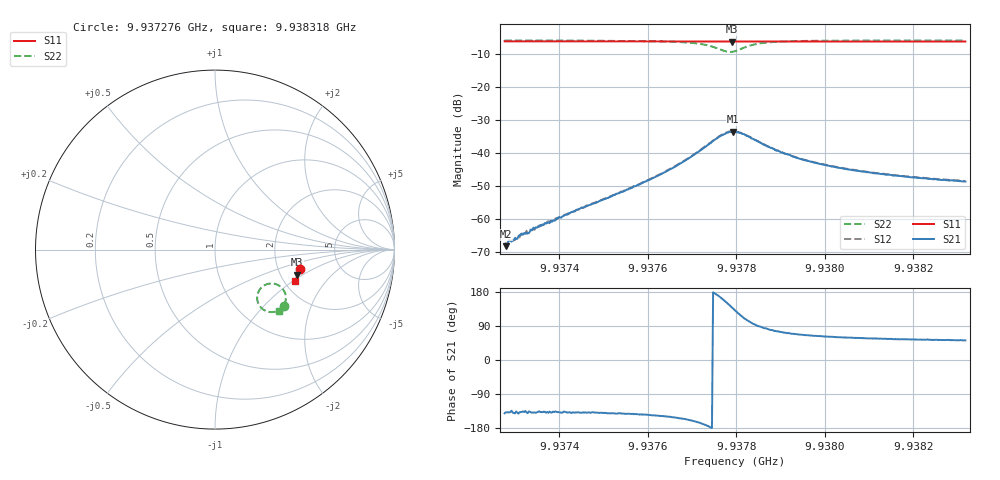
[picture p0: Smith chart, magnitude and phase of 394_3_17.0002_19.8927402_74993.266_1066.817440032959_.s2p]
#  HZ  S  RI  R  50.00
! Rohde & Schwarz Vector Network Analyzer
! Rohde-Schwarz,ZNB20-2Port,1311601062101988,3.16
! Created: UTC 3/20/2024, 11:09:47 PM
! freq[Hz]  re:S11  im:S11  re:S21  im:S21  re:S12  im:S12  re:S22  im:S22
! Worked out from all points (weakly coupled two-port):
!   401 points, 9.937276 GHz to 9.938318 GHz, reference 50 ohm
!   highest |S21| = -33.63 dB at 9.937792 GHz (marker M1); lowest = -68.2 dB at 9.937279 GHz (marker M2)
!   lowest |S11| = -6.4 dB at 9.937789 GHz (marker M3), VSWR 2.84, Z = 123 - j44.5 ohm
!   |S11| at or under -10 dB: nowhere
!   |S22| runs from -9.5 to -6.1 dB; largest |S21 - S12| = 0.00086
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9.9372759e9  0.4717 -0.1067  -0.000319 -0.000262  -0.000304 -0.000274  0.3857 -0.3151
9.9372785e9  0.4717 -0.1069  -0.000289 -0.000261  -0.000316 -0.000291  0.3853 -0.3153
9.9372994e9  0.4712 -0.1083  -0.0004 -0.000328  -0.000358 -0.000324  0.3839 -0.3168
9.937315e9  0.4709 -0.1094  -0.000443 -0.000414  -0.000436 -0.000381  0.3828 -0.3178
9.937328e9  0.4706 -0.1103  -0.000473 -0.000392  -0.000449 -0.000401  0.3818 -0.3188
9.9373515e9  0.4702 -0.1119  -0.000554 -0.000524  -0.000578 -0.000523  0.3798 -0.3206
9.9374505e9  0.468 -0.1185  -0.00113 -0.000973  -0.00112 -0.000981  0.3706 -0.3281
9.93756e9  0.4656 -0.1258  -0.00228 -0.00178  -0.00235 -0.00176  0.3545 -0.3385
9.9376251e9  0.4639 -0.1302  -0.00388 -0.00247  -0.00396 -0.00247  0.3381 -0.3449
9.9376851e9  0.4623 -0.1343  -0.00702 -0.00311  -0.00721 -0.00303  0.3095 -0.3483
9.9377294e9  0.4605 -0.1374  -0.012 -0.00185  -0.0124 -0.00173  0.2689 -0.3338
9.9377659e9  0.4588 -0.1389  -0.0176 0.0051  -0.0178 0.00547  0.2349 -0.2724
9.9377893e9  0.4582 -0.1393  -0.0157 0.0133  -0.0156 0.0142  0.261 -0.2095
9.9377919e9  0.4584 -0.1394  -0.0152 0.0143  -0.0148 0.0149  0.2673 -0.2041
9.9377971e9  0.4583 -0.1395  -0.0136 0.0157  -0.0133 0.0164  0.2812 -0.1959
9.9378154e9  0.4586 -0.1402  -0.00739 0.0178  -0.00701 0.0183  0.3318 -0.1904
9.9378545e9  0.4586 -0.143  0.00048 0.0142  0.000873 0.0143  0.386 -0.2324
9.9379118e9  0.4578 -0.1474  0.003 0.00919  0.00321 0.00911  0.3946 -0.2777
9.9379717e9  0.4563 -0.1516  0.00316 0.00657  0.0033 0.00654  0.389 -0.3006
9.9380577e9  0.454 -0.1573  0.00286 0.00477  0.00302 0.00478  0.38 -0.3179
9.9381464e9  0.4517 -0.1629  0.00265 0.00386  0.00274 0.00382  0.3723 -0.3289
9.9383184e9  0.4469 -0.1738  0.00228 0.00289  0.00237 0.00291  0.3592 -0.3435
